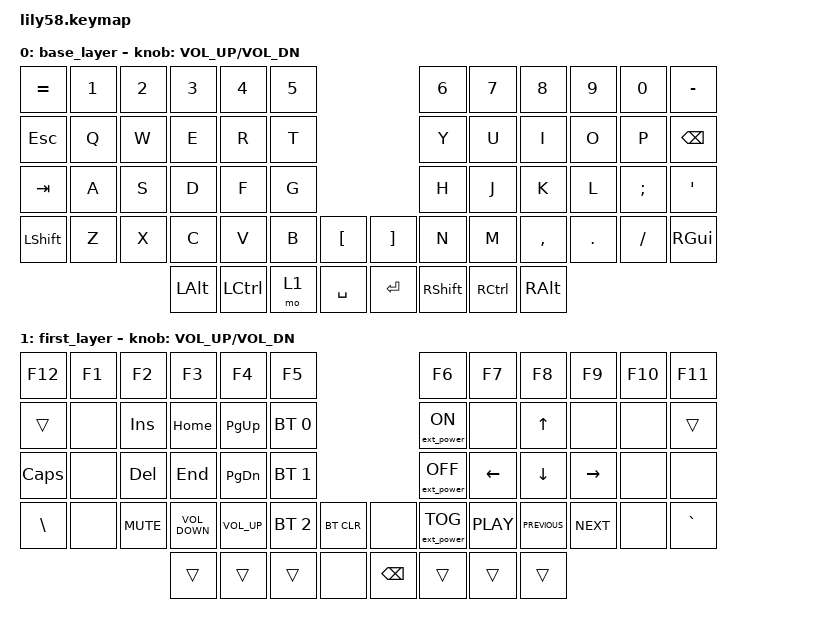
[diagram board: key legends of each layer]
/*
 * Copyright (c) 2020 The ZMK Contributors
 *
 * SPDX-License-Identifier: MIT
 */

#include <behaviors.dtsi>
#include <dt-bindings/zmk/bt.h>
#include <dt-bindings/zmk/ext_power.h>
#include <dt-bindings/zmk/keys.h>

/ {
    keymap {
        compatible = "zmk,keymap";

        base_layer {
            // ------------------------------------------------------------------------------------------------------------
            // |  ESC  |  1  |  2  |  3   |  4   |  5   |                   |  6   |  7    |  8    |  9   |   0   |   `   |
            // |  TAB  |  Q  |  W  |  E   |  R   |  T   |                   |  Y   |  U    |  I    |  O   |   P   |   -   |
            // |  CTRL |  A  |  S  |  D   |  F   |  G   |                   |  H   |  J    |  K    |  L   |   ;   |   '   |
            // | SHIFT |  Z  |  X  |  C   |  V   |  B   |   "["  |  |  "]"  |  N   |  M    |  ,    |  .   |   /   | SHIFT |
            //                     | ALT  | GUI  | LOWER|  SPACE |  | ENTER | RAISE| BSPC  | GUI   |

            bindings = <
&kp EQUAL  &kp N1  &kp N2  &kp N3    &kp N4     &kp N5                         &kp N6     &kp N7     &kp N8     &kp N9   &kp N0    &kp MINUS
&kp ESC    &kp Q   &kp W   &kp E     &kp R      &kp T                          &kp Y      &kp U      &kp I      &kp O    &kp P     &kp BSPC
&kp TAB    &kp A   &kp S   &kp D     &kp F      &kp G                          &kp H      &kp J      &kp K      &kp L    &kp SEMI  &kp SQT
&kp LSHFT  &kp Z   &kp X   &kp C     &kp V      &kp B   &kp LBKT     &kp RBKT  &kp N      &kp M      &kp COMMA  &kp DOT  &kp FSLH  &kp RGUI
                           &kp LALT  &kp LCTRL  &mo 1   &kp SPACE    &kp RET   &kp RSHFT  &kp RCTRL  &kp RALT
            >;

            sensor-bindings = <&inc_dec_kp C_VOL_UP C_VOL_DN>;
        };

        first_layer {
            // ------------------------------------------------------------------------------------------------------------
            // | BTCLR | BT1 | BT2 |  BT3 |  BT4 |  BT5 |                   |      |       |       |      |       |       |
            // |  F1   |  F2 |  F3 |  F4  |  F5  |  F6  |                   |  F7  |  F8   |  F9   |  F10 |  F11  |  F12  |
            // |   `   |  !  |  @  |  #   |  $   |  %   |                   |  ^   |  &    |  *    |  (   |   )   |   ~   |
            // |       |     |     |      |      |      |        |  |       |      |  _    |  +    |  {   |   }   |  "|"  |
            //                     |      |      |      |        |  |       |      |       |       |

            bindings = <
&kp F12        &kp F1  &kp F2      &kp F3             &kp F4           &kp F5                                     &kp F6             &kp F7      &kp F8          &kp F9      &kp F10  &kp F11
&trans         &none   &kp INS     &kp HOME           &kp PAGE_UP      &bt BT_SEL 0                               &ext_power EP_ON   &none       &kp UP          &none       &none    &trans
&kp CAPS       &none   &kp DEL     &kp END            &kp PAGE_DOWN    &bt BT_SEL 1                               &ext_power EP_OFF  &kp LEFT    &kp DOWN        &kp RIGHT   &none    &none
&kp BACKSLASH  &none   &kp C_MUTE  &kp C_VOLUME_DOWN  &kp C_VOLUME_UP  &bt BT_SEL 2  &bt BT_CLR    &none          &ext_power EP_TOG  &kp C_PLAY  &kp C_PREVIOUS  &kp C_NEXT  &none    &kp GRAVE
                                   &trans             &trans           &trans        &none         &kp BACKSPACE  &trans             &trans      &trans
            >;

            sensor-bindings = <&inc_dec_kp C_VOL_UP C_VOL_DN>;
        };
    };
};
